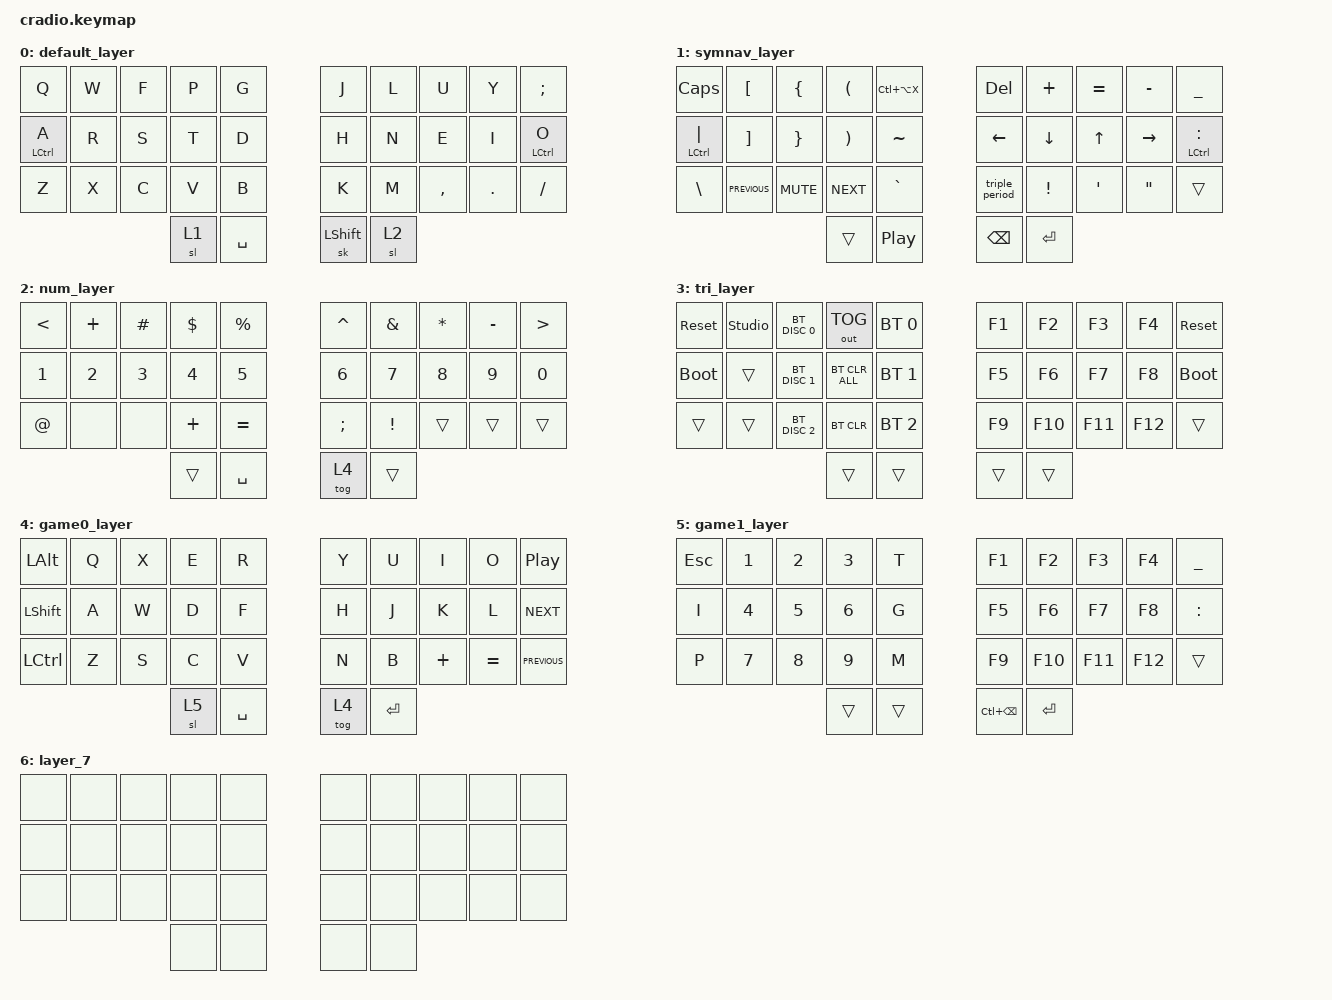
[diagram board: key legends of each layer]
// Copyright (c) 2022 The ZMK Contributors
// SPDX-License-Identifier: MIT

#include <behaviors.dtsi>
#include <dt-bindings/zmk/bt.h>
#include <dt-bindings/zmk/keys.h>
#include <dt-bindings/zmk/outputs.h>

// Layer definitions

#define BASE 0
#define SYMNAV 1
#define NUM 2
#define GAME0 4
#define GAME1 5

&sk {
    quick-release;
    lazy;
};

&mt {
    flavor = "tap-preferred";
    tapping-term-ms = <250>;
};

/ {
    behaviors {
        conditional_layers {
            compatible = "zmk,conditional-layers";

            tri_layer {
                if-layers = <1 2>;
                then-layer = <3>;
            };
        };
    };

    combos {
        compatible = "zmk,combos";

        tab {
            bindings = <&kp TAB>;
            key-positions = <1 2>;
            layers = <0 1 2 3 4 5>;
            slow-release;
        };

        alt {
            bindings = <&kp LEFT_ALT>;
            key-positions = <7 8>;
            layers = <0 2 1 3 4 5>;
            slow-release;
        };

        gui {
            bindings = <&kp LEFT_WIN>;
            key-positions = <21 22>;
            layers = <0 2 3 1 4 5>;
            slow-release;
        };

        enter {
            bindings = <&kp ENTER>;
            key-positions = <27 28>;
            layers = <0 2 1 3 4 5>;
            slow-release;
        };

        shutdown {
            bindings = <&tog 6>;
            key-positions = <12 13 7 15>;
        };

        escape {
            bindings = <&kp ESCAPE>;
            key-positions = <11 12>;
            layers = <0 2 1>;
            slow-release;
            require-prior-idle-ms = <100>;
            timeout-ms = <25>;
        };
    };

    macros {
        triple_period: triple_period {
            compatible = "zmk,behavior-macro";
            #binding-cells = <0>;
            bindings = <&kp PERIOD &kp PERIOD &kp PERIOD>;
            label = "TRIPLE_PERIOD";
        };
    };

    keymap {
        compatible = "zmk,keymap";

        default_layer {
            bindings = <
&kp Q        &kp W  &kp F  &kp P  &kp G        &kp J      &kp L  &kp U      &kp Y    &kp SEMI
&mt LCTRL A  &kp R  &kp S  &kp T  &kp D        &kp H      &kp N  &kp E      &kp I    &mt LCTRL O
&kp Z        &kp X  &kp C  &kp V  &kp B        &kp K      &kp M  &kp COMMA  &kp DOT  &kp SLASH
                           &sl 1  &kp SPACE    &sk LSHFT  &sl 2
            >;
        };

        symnav_layer {
            bindings = <
&kp CAPS        &kp LBKT        &kp LEFT_BRACE   &kp LEFT_PARENTHESIS  &kp LC(LA(X))       &kp DELETE      &kp PLUS   &kp EQUAL         &kp MINUS          &kp UNDER
&mt LCTRL PIPE  &kp RBKT        &kp RIGHT_BRACE  &kp RPAR              &kp TILDE           &kp LEFT        &kp DOWN   &kp UP_ARROW      &kp RIGHT          &mt LCTRL COLON
&kp BSLH        &kp C_PREVIOUS  &kp K_MUTE       &kp C_NEXT            &kp GRAVE           &triple_period  &kp EXCL   &kp SINGLE_QUOTE  &kp DOUBLE_QUOTES  &trans
                                                 &trans                &kp C_PLAY_PAUSE    &kp BACKSPACE   &kp ENTER
            >;
        };

        num_layer {
            bindings = <
&kp LESS_THAN  &kp PLUS      &kp HASH      &kp DOLLAR    &kp PERCENT    &kp CARET     &kp AMPERSAND    &kp ASTERISK  &kp MINUS  &kp GREATER_THAN
&kp NUMBER_1   &kp NUMBER_2  &kp NUMBER_3  &kp NUMBER_4  &kp N5         &kp NUMBER_6  &kp N7           &kp N8        &kp N9     &kp N0
&kp AT_SIGN    &none         &none         &kp PLUS      &kp EQUAL      &kp SEMI      &kp EXCLAMATION  &trans        &trans     &trans
                                           &trans        &kp SPACE      &tog 4        &trans
            >;
        };

        tri_layer {
            bindings = <
&sys_reset   &studio_unlock  &bt BT_DISC 0  &out OUT_TOG    &bt BT_SEL 0    &kp F1  &kp F2   &kp F3   &kp F4   &sys_reset
&bootloader  &trans          &bt BT_DISC 1  &bt BT_CLR_ALL  &bt BT_SEL 1    &kp F5  &kp F6   &kp F7   &kp F8   &bootloader
&trans       &trans          &bt BT_DISC 2  &bt BT_CLR      &bt BT_SEL 2    &kp F9  &kp F10  &kp F11  &kp F12  &trans
                                            &trans          &trans          &trans  &trans
            >;
        };

        game0_layer {
            bindings = <
&kp LEFT_ALT  &kp Q  &kp X  &kp E  &kp R        &kp Y   &kp U      &kp I     &kp O      &kp C_PLAY_PAUSE
&kp LSHFT     &kp A  &kp W  &kp D  &kp F        &kp H   &kp J      &kp K     &kp L      &kp C_NEXT
&kp LCTRL     &kp Z  &kp S  &kp C  &kp V        &kp N   &kp B      &kp PLUS  &kp EQUAL  &kp C_PREVIOUS
                            &sl 5  &kp SPACE    &tog 4  &kp ENTER
            >;
        };

        game1_layer {
            bindings = <
&kp ESCAPE  &kp NUMBER_1  &kp NUMBER_2  &kp NUMBER_3  &kp T     &kp F1        &kp F2     &kp F3   &kp F4   &kp UNDER
&kp I       &kp NUMBER_4  &kp N5        &kp NUMBER_6  &kp G     &kp F5        &kp F6     &kp F7   &kp F8   &kp COLON
&kp P       &kp N7        &kp N8        &kp N9        &kp M     &kp F9        &kp F10    &kp F11  &kp F12  &trans
                                        &trans        &trans    &kp LC(BSPC)  &kp ENTER
            >;
        };

        layer_7 {
            bindings = <
&none  &none  &none  &none  &none    &none  &none  &none  &none  &none
&none  &none  &none  &none  &none    &none  &none  &none  &none  &none
&none  &none  &none  &none  &none    &none  &none  &none  &none  &none
                     &none  &none    &none  &none
            >;
        };
    };
};
